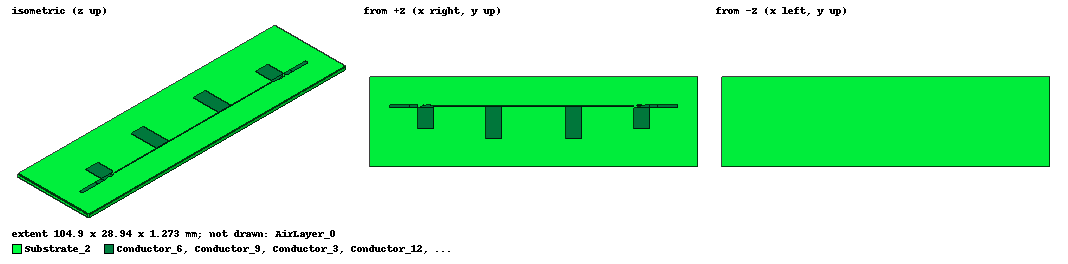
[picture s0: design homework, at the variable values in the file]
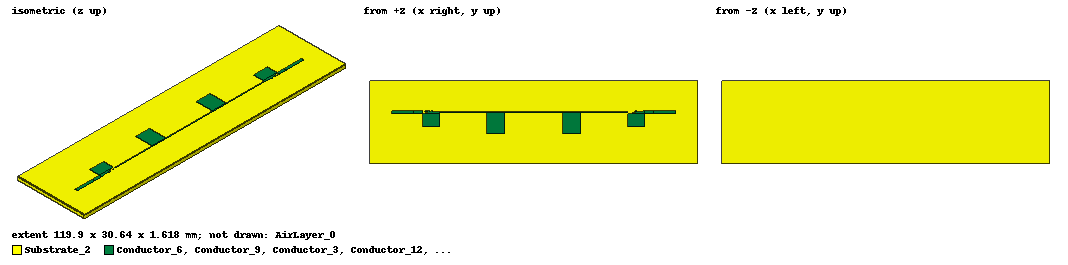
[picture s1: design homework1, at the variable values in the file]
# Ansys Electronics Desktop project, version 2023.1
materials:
  air: permittivity=1.0006 permeability=1.0000004
  FS_Alumina: permittivity=9.8 dielectric_loss_tangent=0.0005
  FS_Copper: conductivity=58000000
  FS_GaAs: permittivity=12.9 dielectric_loss_tangent=0.0005
  FS_Gold: conductivity=40559441
  vacuum: permittivity=1
  copper: conductivity=58000000
  GaAs: permittivity=12.9 dielectric_loss_tangent=0.0005

design homework (HFSS, HFSS Hybrid Terminal Network, model units mm)
options: Allow_Material_Override Save_Adaptive_support_files
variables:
  Win = 1.2340002mm  # Feedline Width
  W1 = 5.08mm  # Stub Width
  S1 = 6.4531913mm  # Stub Length; optimise 3.226595662495mm..9.679786987485mm; sensitivity 3.226595662495mm..9.679786987485mm; tune 3.226595662495mm..9.679786987485mm
  S2 = 16.90615mm  # Segment Length; optimise 8.4530748313mm..25.3592244939mm; sensitivity 8.4530748313mm..25.3592244939mm; tune 8.4530748313mm..25.3592244939mm
  W2 = 317.5um  # Segment Width
  W3 = 5.08mm  # Stub Width
  S3 = 10.387577mm  # Stub Length; optimise 5.19378846455mm..15.58136539365mm; sensitivity 5.19378846455mm..15.58136539365mm; tune 5.19378846455mm..15.58136539365mm
  S4 = 20.247512mm  # Segment Length; optimise 10.1237558812mm..30.3712676436mm; sensitivity 10.1237558812mm..30.3712676436mm; tune 10.1237558812mm..30.3712676436mm
  W4 = 317.5um  # Segment Width
  segWid_1 = Win  # FeedSegemnt In Width
  segWid_2 = Win  # Segemnt Left Width
  segWid_3 = W2  # Segemnt Width in Y
  segLen_3 = S2  # Segemnt Length in X
  segWid_4 = W4  # Segemnt Width in Y
  segLen_4 = S4  # Segemnt Length in X
  segWid_5 = W2  # Segemnt Width in Y
  segLen_5 = S2  # Segemnt Length in X
  segWid_6 = Win  # Segemnt Left Width
  segWid_7 = Win  # FeedSegemnt In Width
  stubWid_3 = W1  # Stub Left Width
  stubLen_3 = S1  # Stub Left Length
  stubWid_4 = W3  # Stub Left Width
  stubLen_4 = S3  # Stub Left Length
  stubWid_5 = W3  # Stub Left Width
  stubLen_5 = S3  # Stub Left Length
  stubWid_6 = W1  # Stub Left Width
  stubLen_6 = S1  # Stub Left Length
  segMid = -4.9646634mm  # Y Center
  segLen_1 = 6.35mm  # FeedSegemnt In Length
  segLeft_1 = -46.079906mm  # FeedSegemnt X
  segTop_1 = segMid-segWid_1/2.  # FeedSegemnt Y
  segLen_2 = 2.54mm  # Segemnt Left Length
  segLeft_2 = segLeft_1+segLen_1  # Segemnt Left X
  segTop_2 = segMid-segWid_2/2.  # Segemnt Left Y
  segLeft_3 = segLeft_2+segLen_2+W1  # Segemnt Left X
  segTop_3 = segMid-segWid_3/2.  # Segemnt Top Y
  segLeft_4 = segLeft_3+segLen_3+W3  # Segemnt Left X
  segTop_4 = segMid-segWid_4/2.  # Segemnt Top Y
  segLeft_5 = segLeft_4+segLen_4+W3  # Segemnt Left X
  segTop_5 = segMid-segWid_5/2.  # Segemnt Top Y
  segLen_6 = 2.54mm  # Segemnt Left Length
  segLeft_6 = segLeft_5+segLen_5+W1  # Segemnt Left X
  segTop_6 = segMid-segWid_6/2.  # Segemnt Left Y
  segLen_7 = 6.35mm  # FeedSegemnt In Length
  segLeft_7 = segLeft_6+segLen_6  # FeedSegemnt X
  segTop_7 = segTop_6  # FeedSegemnt Y
  stubLeft_3 = segLeft_2+segLen_2  # Stub Left X
  stubTop_3 = max((segTop_2+segWid_2), (segTop_3+segWid_3))  # Stub Left Y
  stubLeft_4 = segLeft_3+segLen_3  # Stub Left X
  stubTop_4 = max((segTop_3+segWid_3), (segTop_4+segWid_4))  # Stub Left Y
  stubLeft_5 = segLeft_4+segLen_4  # Stub Left X
  stubTop_5 = max((segTop_4+segWid_4), (segTop_5+segWid_5))  # Stub Left Y
  stubLeft_6 = segLeft_5+segLen_5  # Stub Left X
  stubTop_6 = max((segTop_5+segWid_5), (segTop_6+segWid_6))  # Stub Left Y
  Port1_X = segLeft_1  # Port 1 X Location
  Port1_Y = segTop_1+(segWid_1)/2.  # Port 1 Y Location
  Port2_X = segLeft_7+segLen_7  # Port 2 X Location
  Port2_Y = segTop_7+(segWid_7)/2.  # Port 2 Y Location
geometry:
  Substrate_2 [FS_Alumina] = box(corner=(-52.429906mm, -14.471664mm, 0mm), size=(104.85981mm, 28.943327mm, 1.27mm))
  AirLayer_0 [Air] = box(corner=(-52.429906mm, -14.471664mm, 0mm), size=(104.85981mm, 28.943327mm, 33.02mm))
  Conductor_1 [FS_Gold] = box(corner=(segLeft_1, -(segTop_1)-(segWid_1), 1.27mm), size=(segLen_1, segWid_1, 2.54um))
  Conductor_2 [FS_Gold] = box(corner=(segLeft_2, -(segTop_2)-(segWid_2), 1.27mm), size=(segLen_2, segWid_2, 2.54um))
  Conductor_3 [FS_Gold] = box(corner=(stubLeft_3, -(stubTop_3+min(stubLen_3,0.))-(abs(stubLen_3)), 1.27mm), size=(stubWid_3, abs(stubLen_3), 2.54um))
  Conductor_4 [FS_Gold] = polyline(z=1.27mm, xy: (stubLeft_3, -(stubTop_3)) (segLeft_3, -(stubTop_3)) (segLeft_3, -(segTop_3)) ((stubLeft_3+segLeft_3)/2., -(segTop_3)) ((stubLeft_3+segLeft_3)/2., -(segTop_2)) (stubLeft_3, -(segTop_2)) (stubLeft_3, -(stubTop_3)), closed, covered)
  Conductor_4.sweep_along_vector((0mm, 0mm, 2.54um))
  Conductor_5 [FS_Gold] = box(corner=(segLeft_3, -(segTop_3)-(segWid_3), 1.27mm), size=(segLen_3, segWid_3, 2.54um))
  Conductor_6 [FS_Gold] = box(corner=(stubLeft_4, -(stubTop_4+min(stubLen_4,0.))-(abs(stubLen_4)), 1.27mm), size=(stubWid_4, abs(stubLen_4), 2.54um))
  Conductor_7 [FS_Gold] = box(corner=(stubLeft_4, -(segTop_4)-(segWid_4), 1.27mm), size=(stubWid_4, segWid_4, 2.54um))
  Conductor_8 [FS_Gold] = box(corner=(segLeft_4, -(segTop_4)-(segWid_4), 1.27mm), size=(segLen_4, segWid_4, 2.54um))
  Conductor_9 [FS_Gold] = box(corner=(stubLeft_5, -(stubTop_5+min(stubLen_5,0.))-(abs(stubLen_5)), 1.27mm), size=(stubWid_5, abs(stubLen_5), 2.54um))
  Conductor_10 [FS_Gold] = box(corner=(stubLeft_5, -(segTop_5)-(segWid_5), 1.27mm), size=(stubWid_5, segWid_5, 2.54um))
  Conductor_11 [FS_Gold] = box(corner=(segLeft_5, -(segTop_5)-(segWid_5), 1.27mm), size=(segLen_5, segWid_5, 2.54um))
  Conductor_12 [FS_Gold] = box(corner=(stubLeft_6, -(stubTop_6+min(stubLen_6,0.))-(abs(stubLen_6)), 1.27mm), size=(stubWid_6, abs(stubLen_6), 2.54um))
  Conductor_13 [FS_Gold] = polyline(z=1.27mm, xy: (stubLeft_6, -(stubTop_6)) (segLeft_6, -(stubTop_6)) (segLeft_6, -(segTop_6)) ((stubLeft_6+segLeft_6)/2., -(segTop_6)) ((stubLeft_6+segLeft_6)/2., -(segTop_5)) (stubLeft_6, -(segTop_5)) (stubLeft_6, -(stubTop_6)), closed, covered)
  Conductor_13.sweep_along_vector((0mm, 0mm, 2.54um))
  Conductor_14 [FS_Gold] = box(corner=(segLeft_6, -(segTop_6)-(segWid_6), 1.27mm), size=(segLen_6, segWid_6, 2.54um))
  Conductor_15 [FS_Gold] = box(corner=(segLeft_7, -(segTop_7)-(segWid_7), 1.27mm), size=(segLen_7, segWid_7, 2.54um))
  PortRectangle_1 = rectangle(corner=(Port1_X, -(Port1_Y)-(Win)/2., 0), y_size=Win, z_size=1.27254mm)
  PortRectangle_2 = rectangle(corner=(Port2_X, -(Port2_Y)-(Win)/2., 0), y_size=Win, z_size=1.27254mm)
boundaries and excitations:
  GND: Perfect E Faces=AirLayer_0.face(-z) InfGroundPlane
  AirLayer_Top: Radiation Faces=AirLayer_0.face(+z)
  Rad_Left: Radiation Faces=AirLayer_0.face(-x)
  Rad_Right: Radiation Faces=AirLayer_0.face(+x)
  Rad_Upper: Radiation Faces=AirLayer_0.face(-y)
  Rad_Lower: Radiation Faces=AirLayer_0.face(+y)
  PortRectangle_1_T1: Terminal port=Port1 Faces=Conductor_1.face(-x) TerminalResistance=50ohm
  PortRectangle_2_T1: Terminal port=Port2 Faces=Conductor_15.face(+x) TerminalResistance=50ohm
  Port1: Lumped Port Faces=PortRectangle_1.face LumpedPortType=Terminal Impedance=50ohm
  Port2: Lumped Port Faces=PortRectangle_2.face LumpedPortType=Terminal Impedance=50ohm
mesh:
  initial mesh: MeshMethod=AnsoftClassic
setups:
  FS_Advanced_Setup: HfssDriven MultipleAdaptiveFreqsSetup{AdaptAt{Frequency=100MHz Delta=0.02} AdaptAt{Frequency=500MHz Delta=0.02} AdaptAt{Frequency=1GHz Delta=0.02}} MaximumPasses=25 MinimumPasses=1 MinimumConvergedPasses=1 PercentRefinement=30 BasisOrder=1 PortAccuracy=1 UseABCOnPort DrivenSolverType="Auto Select Direct/Iterative"
    sweep Sweep: 500MHz to 4GHz, 501 points; Type=Interpolating InterpTolerance=0.5 InterpMaxSolns=250 PassivityErrorTolerance=0.0001
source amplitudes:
  Port1:1: 1V 0deg
  Port2:1: 0V 0deg
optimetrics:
  homework_Optimization: Optimization Optimizer="DX NLPQL" AnalysisStopOptions{StopForNumIteration MaxNumIteration=1000 MinNumIteration=10} CostFuncNormType=L2 Acceptable_Cost=0 Noise=1e-05 UpdateDesignWhenDone
    vary S1: Min=3.2265956625 mm Max=12.90638265 mm MinStep=0.09679787mm MaxStep=0.9679787mm MinFocus=3.2265956625 mm MaxFocus=12.90638265 mm start=6.4531913mm
    vary S2: Min=8.45307483131 mm Max=33.8122993253 mm MinStep=0.25359224mm MaxStep=2.5359224mm MinFocus=8.45307483131 mm MaxFocus=33.8122993253 mm start=16.90615mm
    vary S3: Min=5.19378846457 mm Max=20.7751538583 mm MinStep=0.15581365mm MaxStep=1.5581365mm MinFocus=5.19378846457 mm MaxFocus=20.7751538583 mm start=10.387577mm
    vary S4: Min=10.1237558812 mm Max=40.4950235247 mm MinStep=0.30371268mm MaxStep=3.0371268mm MinFocus=10.1237558812 mm MaxFocus=40.4950235247 mm start=20.247512mm
    goal dB(S(Port1,Port1)) <= -16.4277 weight 1 on FS_Advanced_Setup : Sweep at Freq 500MHz to 1GHz
    goal dB(S(Port2,Port1)) <= -20.1 weight 0.5 on FS_Advanced_Setup : Sweep at Freq 1.389GHz to 1.667GHz
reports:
  homework S Parameters Rectangular Plot: dB(St(PortRectangle_1_T1,PortRectangle_1_T1)), dB(St(PortRectangle_2_T1,PortRectangle_1_T1)) vs Freq on FS_Advanced_Setup : Sweep

design homework1 (HFSS, HFSS Hybrid Terminal Network, model units mm)
options: Allow_Material_Override Save_Adaptive_support_files
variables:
  Win = 1.1781324mm  # Feedline Width
  W1 = 6.35mm  # Stub Width
  S1 = 4.4535541mm  # Stub Length; optimise 2.226777027695mm..6.680331083085mm; sensitivity 2.226777027695mm..6.680331083085mm; tune 2.226777027695mm..6.680331083085mm
  S2 = 17.363562mm  # Segment Length; optimise 8.6817810524mm..26.0453431572mm; sensitivity 8.6817810524mm..26.0453431572mm; tune 8.6817810524mm..26.0453431572mm
  W2 = 400um  # Segment Width
  W3 = 6.35mm  # Stub Width
  S3 = 7.450371mm  # Stub Length; optimise 3.72518548834mm..11.17555646502mm; sensitivity 3.72518548834mm..11.17555646502mm; tune 3.72518548834mm..11.17555646502mm
  S4 = 21.404274mm  # Segment Length; optimise 10.7021367599mm..32.1064102797mm; sensitivity 10.7021367599mm..32.1064102797mm; tune 10.7021367599mm..32.1064102797mm
  W4 = 400um  # Segment Width
  segWid_1 = Win  # FeedSegemnt In Width
  segWid_2 = Win  # Segemnt Left Width
  segWid_3 = W2  # Segemnt Width in Y
  segLen_3 = S2  # Segemnt Length in X
  segWid_4 = W4  # Segemnt Width in Y
  segLen_4 = S4  # Segemnt Length in X
  segWid_5 = W2  # Segemnt Width in Y
  segLen_5 = S2  # Segemnt Length in X
  segWid_6 = Win  # Segemnt Left Width
  segWid_7 = Win  # FeedSegemnt In Width
  stubWid_3 = W1  # Stub Left Width
  stubLen_3 = S1  # Stub Left Length
  stubWid_4 = W3  # Stub Left Width
  stubLen_4 = S3  # Stub Left Length
  stubWid_5 = W3  # Stub Left Width
  stubLen_5 = S3  # Stub Left Length
  stubWid_6 = W1  # Stub Left Width
  stubLen_6 = S1  # Stub Left Length
  segMid = -3.5306524mm  # Y Center
  segLen_1 = 8mm  # FeedSegemnt In Length
  segLeft_1 = -51.965699mm  # FeedSegemnt X
  segTop_1 = segMid-segWid_1/2.  # FeedSegemnt Y
  segLen_2 = 3.2mm  # Segemnt Left Length
  segLeft_2 = segLeft_1+segLen_1  # Segemnt Left X
  segTop_2 = segMid-segWid_2/2.  # Segemnt Left Y
  segLeft_3 = segLeft_2+segLen_2+W1  # Segemnt Left X
  segTop_3 = segMid-segWid_3/2.  # Segemnt Top Y
  segLeft_4 = segLeft_3+segLen_3+W3  # Segemnt Left X
  segTop_4 = segMid-segWid_4/2.  # Segemnt Top Y
  segLeft_5 = segLeft_4+segLen_4+W3  # Segemnt Left X
  segTop_5 = segMid-segWid_5/2.  # Segemnt Top Y
  segLen_6 = 3.2mm  # Segemnt Left Length
  segLeft_6 = segLeft_5+segLen_5+W1  # Segemnt Left X
  segTop_6 = segMid-segWid_6/2.  # Segemnt Left Y
  segLen_7 = 8mm  # FeedSegemnt In Length
  segLeft_7 = segLeft_6+segLen_6  # FeedSegemnt X
  segTop_7 = segTop_6  # FeedSegemnt Y
  stubLeft_3 = segLeft_2+segLen_2  # Stub Left X
  stubTop_3 = max((segTop_2+segWid_2), (segTop_3+segWid_3))  # Stub Left Y
  stubLeft_4 = segLeft_3+segLen_3  # Stub Left X
  stubTop_4 = max((segTop_3+segWid_3), (segTop_4+segWid_4))  # Stub Left Y
  stubLeft_5 = segLeft_4+segLen_4  # Stub Left X
  stubTop_5 = max((segTop_4+segWid_4), (segTop_5+segWid_5))  # Stub Left Y
  stubLeft_6 = segLeft_5+segLen_5  # Stub Left X
  stubTop_6 = max((segTop_5+segWid_5), (segTop_6+segWid_6))  # Stub Left Y
  Port1_X = segLeft_1  # Port 1 X Location
  Port1_Y = segTop_1+(segWid_1)/2.  # Port 1 Y Location
  Port2_X = segLeft_7+segLen_7  # Port 2 X Location
  Port2_Y = segTop_7+(segWid_7)/2.  # Port 2 Y Location
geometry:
  Substrate_2 [GaAs] = box(corner=(-59.965699mm, -15.319719mm, 0mm), size=(119.9314mm, 30.639437mm, 1.6mm))
  AirLayer_0 [Air] = box(corner=(-59.965699mm, -15.319719mm, 0mm), size=(119.9314mm, 30.639437mm, 41.6mm))
  Conductor_1 [copper] = box(corner=(segLeft_1, -(segTop_1)-(segWid_1), 1.6mm), size=(segLen_1, segWid_1, 18um))
  Conductor_2 [copper] = box(corner=(segLeft_2, -(segTop_2)-(segWid_2), 1.6mm), size=(segLen_2, segWid_2, 18um))
  Conductor_3 [copper] = box(corner=(stubLeft_3, -(stubTop_3+min(stubLen_3,0.))-(abs(stubLen_3)), 1.6mm), size=(stubWid_3, abs(stubLen_3), 18um))
  Conductor_4 [copper] = polyline(z=1.6mm, xy: (stubLeft_3, -(stubTop_3)) (segLeft_3, -(stubTop_3)) (segLeft_3, -(segTop_3)) ((stubLeft_3+segLeft_3)/2., -(segTop_3)) ((stubLeft_3+segLeft_3)/2., -(segTop_2)) (stubLeft_3, -(segTop_2)) (stubLeft_3, -(stubTop_3)), closed, covered)
  Conductor_4.sweep_along_vector((0mm, 0mm, 18um))
  Conductor_5 [copper] = box(corner=(segLeft_3, -(segTop_3)-(segWid_3), 1.6mm), size=(segLen_3, segWid_3, 18um))
  Conductor_6 [copper] = box(corner=(stubLeft_4, -(stubTop_4+min(stubLen_4,0.))-(abs(stubLen_4)), 1.6mm), size=(stubWid_4, abs(stubLen_4), 18um))
  Conductor_7 [copper] = box(corner=(stubLeft_4, -(segTop_4)-(segWid_4), 1.6mm), size=(stubWid_4, segWid_4, 18um))
  Conductor_8 [copper] = box(corner=(segLeft_4, -(segTop_4)-(segWid_4), 1.6mm), size=(segLen_4, segWid_4, 18um))
  Conductor_9 [copper] = box(corner=(stubLeft_5, -(stubTop_5+min(stubLen_5,0.))-(abs(stubLen_5)), 1.6mm), size=(stubWid_5, abs(stubLen_5), 18um))
  Conductor_10 [copper] = box(corner=(stubLeft_5, -(segTop_5)-(segWid_5), 1.6mm), size=(stubWid_5, segWid_5, 18um))
  Conductor_11 [copper] = box(corner=(segLeft_5, -(segTop_5)-(segWid_5), 1.6mm), size=(segLen_5, segWid_5, 18um))
  Conductor_12 [copper] = box(corner=(stubLeft_6, -(stubTop_6+min(stubLen_6,0.))-(abs(stubLen_6)), 1.6mm), size=(stubWid_6, abs(stubLen_6), 18um))
  Conductor_13 [copper] = polyline(z=1.6mm, xy: (stubLeft_6, -(stubTop_6)) (segLeft_6, -(stubTop_6)) (segLeft_6, -(segTop_6)) ((stubLeft_6+segLeft_6)/2., -(segTop_6)) ((stubLeft_6+segLeft_6)/2., -(segTop_5)) (stubLeft_6, -(segTop_5)) (stubLeft_6, -(stubTop_6)), closed, covered)
  Conductor_13.sweep_along_vector((0mm, 0mm, 18um))
  Conductor_14 [copper] = box(corner=(segLeft_6, -(segTop_6)-(segWid_6), 1.6mm), size=(segLen_6, segWid_6, 18um))
  Conductor_15 [copper] = box(corner=(segLeft_7, -(segTop_7)-(segWid_7), 1.6mm), size=(segLen_7, segWid_7, 18um))
  PortRectangle_1 = rectangle(corner=(Port1_X, -(Port1_Y)-(Win)/2., 0), y_size=Win, z_size=1.618mm)
  PortRectangle_2 = rectangle(corner=(Port2_X, -(Port2_Y)-(Win)/2., 0), y_size=Win, z_size=1.618mm)
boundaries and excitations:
  GND: Perfect E Faces=AirLayer_0.face(-z) InfGroundPlane
  AirLayer_Top: Radiation Faces=AirLayer_0.face(+z)
  Rad_Left: Radiation Faces=AirLayer_0.face(-x)
  Rad_Right: Radiation Faces=AirLayer_0.face(+x)
  Rad_Upper: Radiation Faces=AirLayer_0.face(-y)
  Rad_Lower: Radiation Faces=AirLayer_0.face(+y)
  PortRectangle_1_T1: Terminal port=Port1 Faces=Conductor_1.face(-x) TerminalResistance=50ohm
  PortRectangle_2_T1: Terminal port=Port2 Faces=Conductor_15.face(+x) TerminalResistance=50ohm
  Port1: Lumped Port Faces=PortRectangle_1.face LumpedPortType=Terminal Impedance=50ohm
  Port2: Lumped Port Faces=PortRectangle_2.face LumpedPortType=Terminal Impedance=50ohm
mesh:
  initial mesh: MeshMethod=AnsoftClassic
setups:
  FS_Advanced_Setup: HfssDriven MultipleAdaptiveFreqsSetup{AdaptAt{Frequency=100MHz Delta=0.02} AdaptAt{Frequency=500MHz Delta=0.02} AdaptAt{Frequency=1GHz Delta=0.02}} MaximumPasses=25 MinimumPasses=1 MinimumConvergedPasses=1 PercentRefinement=30 BasisOrder=1 PortAccuracy=1 UseABCOnPort DrivenSolverType="Auto Select Direct/Iterative"
    sweep Sweep: 500MHz to 4GHz, 501 points; Type=Interpolating InterpTolerance=0.5 InterpMaxSolns=250 PassivityErrorTolerance=0.0001
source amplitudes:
  Port1:1: 1V 0deg
  Port2:1: 0V 0deg
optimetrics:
  homework_Optimization: Optimization Optimizer="DX NLPQL" AnalysisStopOptions{StopForNumIteration MaxNumIteration=1000 MinNumIteration=10} CostFuncNormType=L2 Acceptable_Cost=0 Noise=1e-05 UpdateDesignWhenDone
    vary S1: Min=2.2267770277 mm Max=8.90710811078 mm MinStep=0.066803311mm MaxStep=0.66803311mm MinFocus=2.2267770277 mm MaxFocus=8.90710811078 mm start=4.4535541mm
    vary S2: Min=8.6817810524 mm Max=34.7271242096 mm MinStep=0.26045343mm MaxStep=2.6045343mm MinFocus=8.6817810524 mm MaxFocus=34.7271242096 mm start=17.363562mm
    vary S3: Min=3.72518548834 mm Max=14.9007419534 mm MinStep=0.11175556mm MaxStep=1.1175556mm MinFocus=3.72518548834 mm MaxFocus=14.9007419534 mm start=7.450371mm
    vary S4: Min=10.7021367599 mm Max=42.8085470397 mm MinStep=0.3210641mm MaxStep=3.210641mm MinFocus=10.7021367599 mm MaxFocus=42.8085470397 mm start=21.404274mm
    goal dB(S(Port1,Port1)) <= -16.4277 weight 1 on FS_Advanced_Setup : Sweep at Freq 500MHz to 1GHz
    goal dB(S(Port2,Port1)) <= -20.1 weight 0.5 on FS_Advanced_Setup : Sweep at Freq 1.389GHz to 1.667GHz
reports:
  homework S Parameters Rectangular Plot: dB(St(PortRectangle_1_T1,PortRectangle_1_T1)), dB(St(PortRectangle_2_T1,PortRectangle_1_T1)) vs Freq on FS_Advanced_Setup : Sweep; markers m1 at 2.32GHz, m2 at 2.852GHz

design FilterSolutions (Circuit)
options: SParamCircuitDef IntegrationMethod=FFT
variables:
  L5 = 0
  C6 = 3
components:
  Ccap1 = CAP_(C=C1)
  Lind1 = IND_(L=L2)
  Ccap2 = CAP_(C=C3)
  Lind2 = IND_(L=L4)
  Ccap3 = CAP_(C=C5)
  Lind3 = IND_(L=L6)
  Ccap4 = CAP_(C=C7)
  port Port1 rz=50ohm iz=0ohm EnableNoise=false noisetemp=16.85cel
  port Port2 rz=50ohm iz=0ohm EnableNoise=false noisetemp=16.85cel
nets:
  0: Ccap1.0, Ccap4.0, Ccap2.0, Ccap3.0
  net_1: Lind1.1, Ccap2.1, Lind2.0
  net_2: Lind3.0, Ccap3.1, Lind2.1
  Port1: Ccap1.1, Lind1.0
  Port2: Ccap4.1, Lind3.1
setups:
  FS_Advanced Setup: LinearFrequencyData(true, 0.1, false, "", false) SweepDefinition{Variable=Freq Data="DEC 0.5GHz 4GHz 554"}
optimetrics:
  FilterSolutions_Optimization: Optimization UseFastCalculationUpdateAlgo Optimizer="DX NLPQL" AnalysisStopOptions{StopForNumIteration MaxNumIteration=1000 MinNumIteration=10} CostFuncNormType=L2 Acceptable_Cost=0 Noise=1e-05 UpdateDesignWhenDone
    goal dB(S(Port1,Port1)) <= -16.4277 weight 1 on FS_Advanced Setup : FS_Advanced Setup at Freq 500MHz to 1GHz
    goal dB(S(Port2,Port1)) <= -20.1 weight 0.5 on FS_Advanced Setup : FS_Advanced Setup at Freq 1.389GHz to 1.667GHz
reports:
  FilterSolutions S Parameters Rectangular Plot: dB(S(Port1,Port1)), dB(S(Port2,Port1)) vs Freq on FS_Advanced Setup : FS_Advanced Setup; markers MY1 at y=-0.167317
